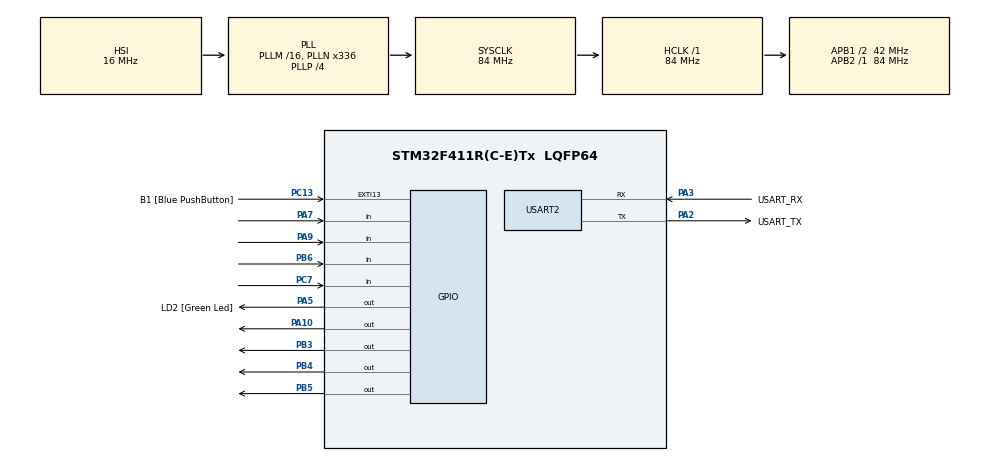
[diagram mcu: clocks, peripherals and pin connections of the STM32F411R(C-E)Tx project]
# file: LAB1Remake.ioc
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Mcu.Family=STM32F4
Mcu.Name=STM32F411R(C-E)Tx
Mcu.Package=LQFP64
NVIC.PriorityGroup=NVIC_PRIORITYGROUP_0
PA10.GPIO_ModeDefaultOutputPP=GPIO_MODE_OUTPUT_OD
PA10.GPIO_PuPd=GPIO_NOPULL
PA10.Signal=GPIO_Output
PA13.GPIO_Label=TMS
PA13.Mode=Serial_Wire
PA13.Signal=SYS_JTMS-SWDIO
PA14.GPIO_Label=TCK
PA14.Mode=Serial_Wire
PA14.Signal=SYS_JTCK-SWCLK
PA2.GPIO_Label=USART_TX
PA2.Mode=Asynchronous
PA2.Signal=USART2_TX
PA3.GPIO_Label=USART_RX
PA3.Mode=Asynchronous
PA3.Signal=USART2_RX
PA5.GPIO_Label=LD2 [Green Led]
PA5.GPIO_ModeDefaultOutputPP=GPIO_MODE_OUTPUT_PP
PA5.GPIO_PuPd=GPIO_NOPULL
PA5.Signal=GPIO_Output
PA7.GPIO_PuPd=GPIO_PULLUP
PA7.Signal=GPIO_Input
PA9.GPIO_PuPd=GPIO_PULLUP
PA9.Signal=GPIO_Input
PB3.GPIO_ModeDefaultOutputPP=GPIO_MODE_OUTPUT_OD
PB3.GPIO_PuPd=GPIO_NOPULL
PB3.Signal=GPIO_Output
PB4.GPIO_ModeDefaultOutputPP=GPIO_MODE_OUTPUT_OD
PB4.GPIO_PuPd=GPIO_NOPULL
PB4.Signal=GPIO_Output
PB5.GPIO_ModeDefaultOutputPP=GPIO_MODE_OUTPUT_OD
PB5.GPIO_PuPd=GPIO_NOPULL
PB5.Signal=GPIO_Output
PB6.GPIO_PuPd=GPIO_PULLUP
PB6.Signal=GPIO_Input
PC13-ANTI_TAMP.GPIO_Label=B1 [Blue PushButton]
PC13-ANTI_TAMP.GPIO_ModeDefaultEXTI=GPIO_MODE_IT_FALLING
PC13-ANTI_TAMP.Signal=GPXTI13
PC14-OSC32_IN.Mode=LSE-External-Oscillator
PC14-OSC32_IN.Signal=RCC_OSC32_IN
PC15-OSC32_OUT.Mode=LSE-External-Oscillator
PC15-OSC32_OUT.Signal=RCC_OSC32_OUT
PC7.GPIO_PuPd=GPIO_PULLUP
PC7.Signal=GPIO_Input
PH0\ -\ OSC_IN.Mode=HSE-External-Clock-Source
PH0\ -\ OSC_IN.Signal=RCC_OSC_IN
PH1\ -\ OSC_OUT.Mode=HSE-External-Clock-Source
PH1\ -\ OSC_OUT.Signal=RCC_OSC_OUT
ProjectManager.HeapSize=0x200
ProjectManager.StackSize=0x400
ProjectManager.TargetToolchain=STM32CubeIDE
RCC.48MHZClocksFreq_Value=84000000
RCC.AHBFreq_Value=84000000
RCC.APB1CLKDivider=RCC_HCLK_DIV2
RCC.APB1Freq_Value=42000000
RCC.APB1TimFreq_Value=84000000
RCC.APB2Freq_Value=84000000
RCC.APB2TimFreq_Value=84000000
RCC.CortexFreq_Value=84000000
RCC.FLatency-AdvancedSettings=FLASH_LATENCY_2
RCC.HCLKFreq_Value=84000000
RCC.HSE_VALUE=8000000
RCC.HSI_VALUE=16000000
RCC.PLLN=336
RCC.PLLP=RCC_PLLP_DIV4
RCC.SYSCLKFreq_VALUE=84000000
RCC.SYSCLKSource=RCC_SYSCLKSOURCE_PLLCLK
RCC.VCOOutputFreq_Value=336000000
USART2.VirtualMode=VM_ASYNC
board=NUCLEO-F411RE

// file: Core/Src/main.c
/* USER CODE BEGIN Header */
/**
 ******************************************************************************
 * @file           : main.c
 * @brief          : Main program body
 ******************************************************************************
 * @attention
 *
 * Copyright (c) 2023 STMicroelectronics.
 * All rights reserved.
 *
 * This software is licensed under terms that can be found in the LICENSE file
 * in the root directory of this software component.
 * If no LICENSE file comes with this software, it is provided AS-IS.
 *
 ******************************************************************************
 */
/* USER CODE END Header */
#include "main.h"

/* USER CODE BEGIN Includes */
// Manapath Klinpho
/* USER CODE END Includes */

/* USER CODE BEGIN PTD */
uint16_t StudentNumbers[11];
uint16_t CorrectstudentNumbers[] = { 512, 2, 1024, 2, 8, 32, 8, 8, 8, 2, 32 };

uint16_t x = 0;

int inputstate = 0; //check x (array orders)

int buttonstate = 0;

int check;
/* USER CODE END PTD */

UART_HandleTypeDef huart2;

/* USER CODE BEGIN PV */

//create Structure of PortPin ,Typedef it to type name PortPin
typedef struct _PortPin {
	GPIO_TypeDef *PORT;
	uint16_t PIN;
} PortPin;

//declare PortPin R,L
PortPin R[4] = { { GPIOA, GPIO_PIN_10 }, { GPIOB, GPIO_PIN_3 }, { GPIOB,
GPIO_PIN_5 }, { GPIOB, GPIO_PIN_4 } };

PortPin L[4] = { { GPIOA, GPIO_PIN_9 }, { GPIOC, GPIO_PIN_7 }, { GPIOB,
GPIO_PIN_6 }, { GPIOA, GPIO_PIN_7 } };

//For Button Contenter
uint16_t ButtonMatrix = 0;
/* USER CODE END PV */

void SystemClock_Config(void);
static void MX_GPIO_Init(void);
static void MX_USART2_UART_Init(void);
/* USER CODE BEGIN PFP */
void ReadMatrixButton_1Row();
void InputMatrixButton();
void OKButton();
/* USER CODE END PFP */

int main(void)
{

  /* MCU Configuration--------------------------------------------------------*/

  /* Reset of all peripherals, Initializes the Flash interface and the Systick. */
  HAL_Init();

  /* Configure the system clock */
  SystemClock_Config();

  /* Initialize all configured peripherals */
  MX_GPIO_Init();
  MX_USART2_UART_Init();

  /* Infinite loop */
	while (1) {

    /* USER CODE BEGIN 3 */
		//Call function every 10 ms = 100Hz
		static uint32_t timestamp = 0;
		if (HAL_GetTick() >= timestamp) {
			timestamp = HAL_GetTick() + 10;
			ReadMatrixButton_1Row();
			InputMatrixButton();
			OKButton();
		}
	}
  /* USER CODE END 3 */
}

void SystemClock_Config(void)
{
  RCC_OscInitTypeDef RCC_OscInitStruct = {0};
  RCC_ClkInitTypeDef RCC_ClkInitStruct = {0};

  /** Configure the main internal regulator output voltage
  */
  __HAL_RCC_PWR_CLK_ENABLE();
  __HAL_PWR_VOLTAGESCALING_CONFIG(PWR_REGULATOR_VOLTAGE_SCALE1);

  /** Initializes the RCC Oscillators according to the specified parameters
  * in the RCC_OscInitTypeDef structure.
  */
  RCC_OscInitStruct.OscillatorType = RCC_OSCILLATORTYPE_HSI;
  RCC_OscInitStruct.HSIState = RCC_HSI_ON;
  RCC_OscInitStruct.HSICalibrationValue = RCC_HSICALIBRATION_DEFAULT;
  RCC_OscInitStruct.PLL.PLLState = RCC_PLL_ON;
  RCC_OscInitStruct.PLL.PLLSource = RCC_PLLSOURCE_HSI;
  RCC_OscInitStruct.PLL.PLLM = 16;
  RCC_OscInitStruct.PLL.PLLN = 336;
  RCC_OscInitStruct.PLL.PLLP = RCC_PLLP_DIV4;
  RCC_OscInitStruct.PLL.PLLQ = 4;
  if (HAL_RCC_OscConfig(&RCC_OscInitStruct) != HAL_OK)
  {
    Error_Handler();
  }

  /** Initializes the CPU, AHB and APB buses clocks
  */
  RCC_ClkInitStruct.ClockType = RCC_CLOCKTYPE_HCLK|RCC_CLOCKTYPE_SYSCLK
                              |RCC_CLOCKTYPE_PCLK1|RCC_CLOCKTYPE_PCLK2;
  RCC_ClkInitStruct.SYSCLKSource = RCC_SYSCLKSOURCE_PLLCLK;
  RCC_ClkInitStruct.AHBCLKDivider = RCC_SYSCLK_DIV1;
  RCC_ClkInitStruct.APB1CLKDivider = RCC_HCLK_DIV2;
  RCC_ClkInitStruct.APB2CLKDivider = RCC_HCLK_DIV1;

  if (HAL_RCC_ClockConfig(&RCC_ClkInitStruct, FLASH_LATENCY_2) != HAL_OK)
  {
    Error_Handler();
  }
}

static void MX_USART2_UART_Init(void)
{

  huart2.Instance = USART2;
  huart2.Init.BaudRate = 115200;
  huart2.Init.WordLength = UART_WORDLENGTH_8B;
  huart2.Init.StopBits = UART_STOPBITS_1;
  huart2.Init.Parity = UART_PARITY_NONE;
  huart2.Init.Mode = UART_MODE_TX_RX;
  huart2.Init.HwFlowCtl = UART_HWCONTROL_NONE;
  huart2.Init.OverSampling = UART_OVERSAMPLING_16;
  if (HAL_UART_Init(&huart2) != HAL_OK)
  {
    Error_Handler();
  }

}

static void MX_GPIO_Init(void)
{
  GPIO_InitTypeDef GPIO_InitStruct = {0};

  /* GPIO Ports Clock Enable */
  __HAL_RCC_GPIOC_CLK_ENABLE();
  __HAL_RCC_GPIOH_CLK_ENABLE();
  __HAL_RCC_GPIOA_CLK_ENABLE();
  __HAL_RCC_GPIOB_CLK_ENABLE();

  /*Configure GPIO pin Output Level */
  HAL_GPIO_WritePin(GPIOA, LD2_Pin|GPIO_PIN_10, GPIO_PIN_RESET);

  /*Configure GPIO pin Output Level */
  HAL_GPIO_WritePin(GPIOB, GPIO_PIN_3|GPIO_PIN_4|GPIO_PIN_5, GPIO_PIN_RESET);

  /*Configure GPIO pin : B1_Pin */
  GPIO_InitStruct.Pin = B1_Pin;
  GPIO_InitStruct.Mode = GPIO_MODE_IT_FALLING;
  GPIO_InitStruct.Pull = GPIO_NOPULL;
  HAL_GPIO_Init(B1_GPIO_Port, &GPIO_InitStruct);

  /*Configure GPIO pin : LD2_Pin */
  GPIO_InitStruct.Pin = LD2_Pin;
  GPIO_InitStruct.Mode = GPIO_MODE_OUTPUT_PP;
  GPIO_InitStruct.Pull = GPIO_NOPULL;
  GPIO_InitStruct.Speed = GPIO_SPEED_FREQ_LOW;
  HAL_GPIO_Init(LD2_GPIO_Port, &GPIO_InitStruct);

  /*Configure GPIO pins : PA7 PA9 */
  GPIO_InitStruct.Pin = GPIO_PIN_7|GPIO_PIN_9;
  GPIO_InitStruct.Mode = GPIO_MODE_INPUT;
  GPIO_InitStruct.Pull = GPIO_PULLUP;
  HAL_GPIO_Init(GPIOA, &GPIO_InitStruct);

  /*Configure GPIO pin : PC7 */
  GPIO_InitStruct.Pin = GPIO_PIN_7;
  GPIO_InitStruct.Mode = GPIO_MODE_INPUT;
  GPIO_InitStruct.Pull = GPIO_PULLUP;
  HAL_GPIO_Init(GPIOC, &GPIO_InitStruct);

  /*Configure GPIO pin : PA10 */
  GPIO_InitStruct.Pin = GPIO_PIN_10;
  GPIO_InitStruct.Mode = GPIO_MODE_OUTPUT_OD;
  GPIO_InitStruct.Pull = GPIO_NOPULL;
  GPIO_InitStruct.Speed = GPIO_SPEED_FREQ_LOW;
  HAL_GPIO_Init(GPIOA, &GPIO_InitStruct);

  /*Configure GPIO pins : PB3 PB4 PB5 */
  GPIO_InitStruct.Pin = GPIO_PIN_3|GPIO_PIN_4|GPIO_PIN_5;
  GPIO_InitStruct.Mode = GPIO_MODE_OUTPUT_OD;
  GPIO_InitStruct.Pull = GPIO_NOPULL;
  GPIO_InitStruct.Speed = GPIO_SPEED_FREQ_LOW;
  HAL_GPIO_Init(GPIOB, &GPIO_InitStruct);

  /*Configure GPIO pin : PB6 */
  GPIO_InitStruct.Pin = GPIO_PIN_6;
  GPIO_InitStruct.Mode = GPIO_MODE_INPUT;
  GPIO_InitStruct.Pull = GPIO_PULLUP;
  HAL_GPIO_Init(GPIOB, &GPIO_InitStruct);

}

/* USER CODE BEGIN 4 */
void ReadMatrixButton_1Row() {
	//
	static uint8_t X = 0;

	//READ L1-L4
	register int i;
	for (i = 0; i < 4; i++) {
		if (HAL_GPIO_ReadPin(L[i].PORT, L[i].PIN)) {
			ButtonMatrix &= ~(1 << (X * 4 + i));

		} else {
			ButtonMatrix |= 1 << (X * 4 + i);

		}

	}
	//SET RX
	HAL_GPIO_WritePin(R[X].PORT, R[X].PIN, 1);
	//RESET RX+1%4
	HAL_GPIO_WritePin(R[(X + 1) % 4].PORT, R[(X + 1) % 4].PIN, 0);
	X++;
	X %= 4;
}

void InputMatrixButton() {
	inputstate = ButtonMatrix;

	if (buttonstate == 0 && inputstate != 0) {

		if (x < 11) {
			StudentNumbers[x] = ButtonMatrix;
			x++;
		}
		if (inputstate == 4096) {
			HAL_GPIO_WritePin(GPIOA, GPIO_PIN_5, GPIO_PIN_RESET);
			x = 0;
		}
	}
	//save inputstate to buttonstate to nextloop
	buttonstate = inputstate;
}

void OKButton() {
	register int i;
	check = 0;
	for (i = 0; i < 11; i++) {
		if (StudentNumbers[i] == CorrectstudentNumbers[i]) {
			check++;
		}
	}
	if (check == 11 && inputstate == 32768) {
		HAL_GPIO_WritePin(GPIOA, GPIO_PIN_5, GPIO_PIN_SET);
	}
}
/* USER CODE END 4 */

void Error_Handler(void)
{
	__disable_irq();
	while (1) {
	}
}
